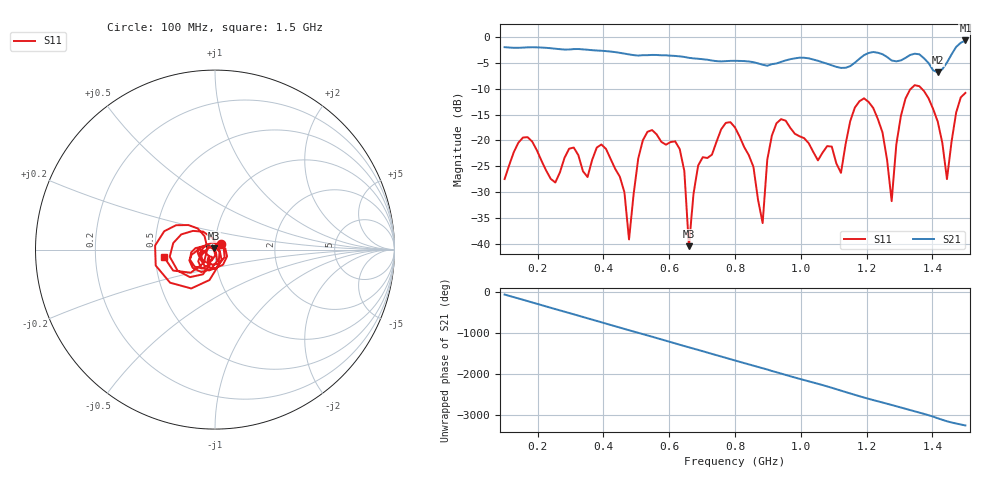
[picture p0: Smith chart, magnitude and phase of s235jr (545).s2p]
! NanoVNA-App
! Date: 2025-09-25 15:08:24
! Start: 100MHz Stop: 1,5GHz Points: 101
! S-Parameter data: F S11 S21 S12 S22
# Hz S RI R 50
!  Frequency  S11_Real  S11_Imag  S21_Real  S21_Imag  S12_Real  S12_Imag  S22_Real  S22_Imag
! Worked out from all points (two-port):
!   101 points, 100 MHz to 1.5 GHz, reference 50 ohm
!   highest |S21| = -0.67 dB at 1.5 GHz (marker M1); lowest = -6.8 dB at 1.416 GHz (marker M2)
!   |S21| within 3 dB of the highest: start of sweep to 619.2 MHz; 1.189 GHz to 1.257 GHz (68.07 MHz wide, 5.57 % of centre) (the widest 2 of 4)
!   lowest |S11| = -40.5 dB at 660 MHz (marker M3), VSWR 1.02, Z = 49.3 + j0.607 ohm
!   |S11| at or under -10 dB: start of sweep to 1.335 GHz; 1.367 GHz to end of sweep
!   S12 and S22 are empty: the file has one direction only
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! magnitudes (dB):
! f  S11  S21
! 100 MHz  -27.5  -2.0
! 156 MHz  -19.4  -2.1
! 338 MHz  -25.9  -2.4
! 408 MHz  -21.6  -2.7
! 478 MHz  -39.1  -3.4
! 520 MHz  -20.0  -3.5
! 576 MHz  -20.3  -3.5
! 632 MHz  -21.7  -3.7
! 660 MHz  -40.5  -4.0
! 688 MHz  -24.9  -4.2
! 800 MHz  -17.5  -4.6
! 884 MHz  -36.0  -5.4
! 926 MHz  -16.7  -5.1
! 1.038 GHz  -22.3  -4.4
! 1.122 GHz  -26.3  -6.0
! 1.192 GHz  -11.9  -3.5
! 1.248 GHz  -18.4  -3.3
! 1.276 GHz  -31.7  -4.5
! 1.332 GHz  -10.1  -3.5
! 1.416 GHz  -16.4  -6.8
! 1.444 GHz  -27.5  -4.9
! 1.5 GHz  -10.8  -0.7
